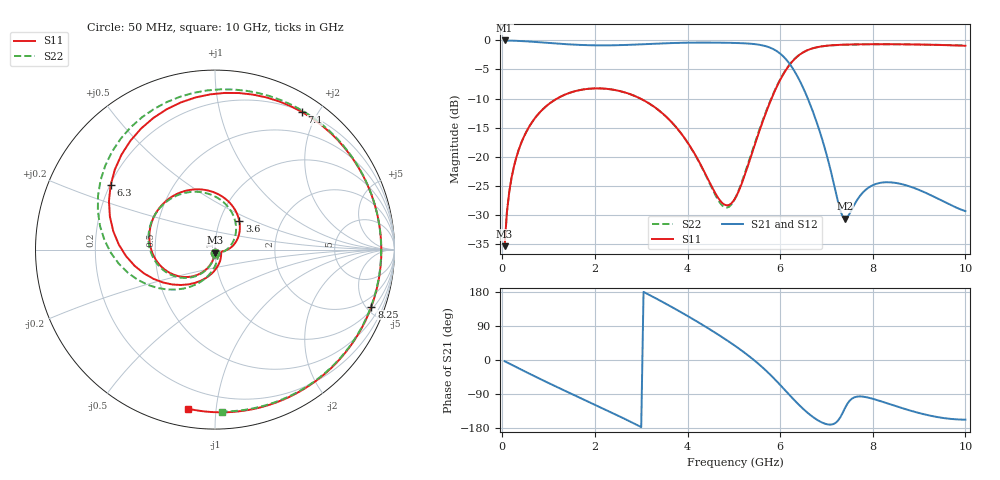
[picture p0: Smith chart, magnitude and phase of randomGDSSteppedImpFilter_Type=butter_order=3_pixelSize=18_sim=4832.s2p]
! freq	dB(S11)	phase(S11)	dB(S12)	phase(S12)
!  dB(S21)	phase(S21)	dB(S22)	phase(S22)
!S-par simulation data
#  GHz  S  DB  R 50
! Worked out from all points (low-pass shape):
!   200 points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, 50 MHz to 10 GHz, reference 50 ohm
!   highest |S21| = -0.01 dB at 50 MHz (marker M1); lowest = -30.6 dB at 7.4 GHz (marker M2)
!   |S21| within 3 dB of the highest: start of sweep to 6.099 GHz
!   lowest |S11| = -35.3 dB at 50 MHz (marker M3), VSWR 1.03, Z = 49.9 - j1.71 ohm
!   |S11| at or under -10 dB: start of sweep to 1.181 GHz; 2.984 GHz to 5.814 GHz (2.83 GHz wide, 64.3 % of centre)
!   |S22| runs from -35.4 to -0.7 dB; largest |S21 - S12| = 0
!   S11 on the Smith chart (normalised r, x): 50 MHz: 1.00, -0.03; 3.6 GHz: 1.24, +0.41; 6.3 GHz: 0.20, +0.27; 7.1 GHz: 0.21, +1.79; 8.25 GHz: 1.19, -5.40; 10 GHz: 0.09, -0.84
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0.05  -35.35 -91.2  -0.01 -3.2  -0.01 -3.2  -35.35 -91.2
0.2  -23.60 -102.6  -0.04 -12.5  -0.04 -12.5  -23.60 -102.1
0.5  -16.01 -122.0  -0.15 -30.9  -0.15 -30.9  -16.00 -120.8
1.1  -10.39 -158.6  -0.50 -66.6  -0.50 -66.6  -10.40 -156.0
1.75  -8.43 163.5  -0.80 -103.8  -0.80 -103.8  -8.43 167.8
2.7  -9.07 107.4  -0.78 -158.8  -0.78 -158.8  -9.07 114.7
3.4  -12.14 63.0  -0.54 157.2  -0.54 157.2  -12.14 72.5
3.6  -13.58 49.8  -0.48 143.9  -0.48 143.9  -13.59 59.7
4.35  -22.38 2.4  -0.37 90.8  -0.37 90.8  -22.48 6.4
4.75  -27.95 -15.8  -0.40 60.1  -0.40 60.1  -28.38 -35.0
5.05  -26.82 -41.6  -0.45 35.3  -0.45 35.3  -26.78 -68.9
5.6  -14.46 -114.1  -0.82 -17.4  -0.82 -17.4  -14.23 -113.6
5.95  -7.59 -161.5  -1.97 -59.1  -1.97 -59.1  -7.48 -152.3
6.3  -3.31 148.3  -5.17 -105.1  -5.17 -105.1  -3.26 161.9
6.7  -1.37 97.3  -12.08 -149.7  -12.08 -149.7  -1.37 113.3
7.1  -0.85 57.8  -22.64 -170.4  -22.64 -170.4  -0.87 74.6
7.4  -0.73 33.6  -30.65 -126.9  -30.65 -126.9  -0.75 50.4
7.8  -0.67 6.3  -26.02 -96.9  -26.02 -96.9  -0.69 22.4
8.25  -0.65 -20.1  -24.39 -111.9  -24.39 -111.9  -0.67 -4.9
8.35  -0.66 -25.4  -24.37 -115.9  -24.37 -115.9  -0.67 -10.6
9.15  -0.73 -63.9  -26.21 -144.4  -26.21 -144.4  -0.72 -50.9
10  -0.92 -99.6  -29.34 -157.5  -29.34 -157.5  -0.89 -87.6
